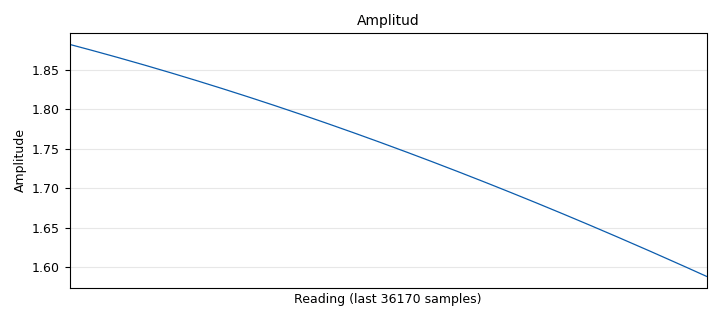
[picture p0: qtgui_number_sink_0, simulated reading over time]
options:
  parameters:
    generate_options: qt_gui
    id: test_numbersink
    output_language: python
    title: Not titled yet
  states: {}

blocks:
- name: samp_rate
  id: variable
  parameters:
    value: '100000'
  states: {}
- name: analog_sig_source_x_0
  id: analog_sig_source_x
  parameters:
    amp: '1'
    freq: '0.2'
    offset: '1'
    phase: '0'
    samp_rate: samp_rate
    type: float
    waveform: analog.GR_SIN_WAVE
  states: {}
- name: blocks_throttle_0
  id: blocks_throttle
  parameters:
    samples_per_second: samp_rate
    type: float
  states: {}
- name: qtgui_number_sink_0
  id: qtgui_number_sink
  parameters:
    avg: '1'
    graph_type: qtgui.NUM_GRAPH_HORIZ
    max: '2'
    min: '-2'
    name: Amplitud
    type: float
  states: {}

connections:
- [analog_sig_source_x_0, '0', blocks_throttle_0, '0']
- [blocks_throttle_0, '0', qtgui_number_sink_0, '0']

metadata:
  file_format: 1
  grc_version: 3.10.4.0
